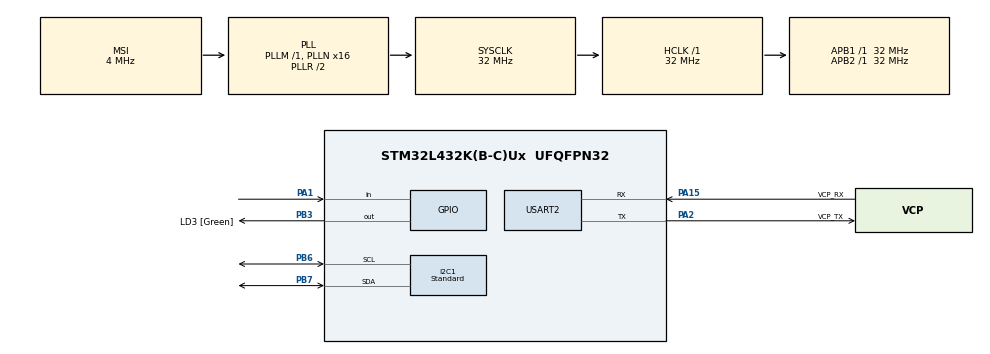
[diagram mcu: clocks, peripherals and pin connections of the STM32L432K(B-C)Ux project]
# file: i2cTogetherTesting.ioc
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I2C1.GeneralCallMode=I2C_GENERALCALL_ENABLE
I2C1.I2C_Speed_Mode=I2C_Standard
I2C1.NoStretchMode=I2C_NOSTRETCH_DISABLE
I2C1.OwnAddress=0x12
I2C1.Timing=0x00707CBB
Mcu.Family=STM32L4
Mcu.Name=STM32L432K(B-C)Ux
Mcu.Package=UFQFPN32
NVIC.I2C1_ER_IRQn=true\:0\:0\:false\:false\:true\:true\:true\:true
NVIC.I2C1_EV_IRQn=true\:0\:0\:false\:false\:true\:true\:true\:true
NVIC.PriorityGroup=NVIC_PRIORITYGROUP_4
PA0.GPIO_Label=MCO [High speed clock in]
PA0.Mode=HSE-External-Clock-Source-for-LittleOrca
PA0.Signal=RCC_CK_IN
PA1.GPIO_PuPd=GPIO_NOPULL
PA1.Signal=GPIO_Input
PA13\ (JTMS-SWDIO).GPIO_Label=SWDIO
PA13\ (JTMS-SWDIO).Mode=Serial_Wire
PA13\ (JTMS-SWDIO).Signal=SYS_JTMS-SWDIO
PA14\ (JTCK-SWCLK).GPIO_Label=SWCLK
PA14\ (JTCK-SWCLK).Mode=Serial_Wire
PA14\ (JTCK-SWCLK).Signal=SYS_JTCK-SWCLK
PA15\ (JTDI).GPIO_Label=VCP_RX
PA15\ (JTDI).Mode=Asynchronous
PA15\ (JTDI).Signal=USART2_RX
PA2.GPIO_Label=VCP_TX
PA2.Mode=Asynchronous
PA2.Signal=USART2_TX
PB3\ (JTDO-TRACESWO).GPIO_Label=LD3 [Green]
PB3\ (JTDO-TRACESWO).Signal=GPIO_Output
PB6.GPIO_FM6=__NULL
PB6.Mode=I2C
PB6.Signal=I2C1_SCL
PB7.GPIO_FM7=__NULL
PB7.Mode=I2C
PB7.Signal=I2C1_SDA
PC14-OSC32_IN\ (PC14).Mode=LSE-External-Oscillator
PC14-OSC32_IN\ (PC14).Signal=RCC_OSC32_IN
PC15-OSC32_OUT\ (PC15).Mode=LSE-External-Oscillator
PC15-OSC32_OUT\ (PC15).Signal=RCC_OSC32_OUT
ProjectManager.HeapSize=0x200
ProjectManager.StackSize=0x400
ProjectManager.TargetToolchain=STM32CubeIDE
RCC.AHBFreq_Value=32000000
RCC.APB1Freq_Value=32000000
RCC.APB1TimFreq_Value=32000000
RCC.APB2Freq_Value=32000000
RCC.APB2TimFreq_Value=32000000
RCC.CortexFreq_Value=32000000
RCC.HCLKFreq_Value=32000000
RCC.HSE_VALUE=8000000
RCC.HSI16_VALUE=16000000
RCC.HSI48_VALUE=48000000
RCC.HSI_VALUE=16000000
RCC.MSI_VALUE=4000000
RCC.PLLMUL=RCC_PLLMUL_4
RCC.PLLN=16
RCC.SYSCLKFreq_VALUE=32000000
RCC.SYSCLKSource=RCC_SYSCLKSOURCE_PLLCLK
RCC.VCOOutputFreq_Value=64000000
USART2.VirtualMode-Asynchronous=VM_ASYNC
board=NUCLEO-L432KC

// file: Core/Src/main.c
/* USER CODE BEGIN Header */
/**
 ******************************************************************************
 * @file           : main.c
 * @brief          : Main program body
 ******************************************************************************
 * @attention
 *
 * Copyright (c) 2024 STMicroelectronics.
 * All rights reserved.
 *
 * This software is licensed under terms that can be found in the LICENSE file
 * in the root directory of this software component.
 * If no LICENSE file comes with this software, it is provided AS-IS.
 *
 ******************************************************************************
 */
/* USER CODE END Header */
#include "main.h"

/* USER CODE BEGIN Includes */
#define COUNTOF(__BUFFER__)   (sizeof(__BUFFER__) / sizeof(*(__BUFFER__)))
#include <string.h>
/* Size of Transmission buffer */
#define TXBUFFERSIZE                      (COUNTOF(aTxBuffer))
/* Size of Reception buffer */
#define RXBUFFERSIZE                      TXBUFFERSIZE
/* USER CODE END Includes */

/* USER CODE BEGIN PTD */
__IO uint32_t     Transfer_Direction = 0;
__IO uint32_t     Xfer_Complete = 0;
/* USER CODE END PTD */

/* USER CODE BEGIN PD */
/* Buffer used for transmission */
uint8_t aTxBuffer[32];

/* Buffer used for reception */
uint8_t aRxBuffer[32];
/* USER CODE END PD */

I2C_HandleTypeDef hi2c1;

UART_HandleTypeDef huart2;

void SystemClock_Config(void);
static void MX_GPIO_Init(void);
static void MX_USART2_UART_Init(void);
static void MX_I2C1_Init(void);

int main(void) {

	/* MCU Configuration--------------------------------------------------------*/

	/* Reset of all peripherals, Initializes the Flash interface and the Systick. */
	HAL_Init();

	/* USER CODE BEGIN Init */
//	  aRxBuffer[0]=0x41;
//	  aRxBuffer[1]=0x42;
//	  aRxBuffer[2]=0x43;
//	  aRxBuffer[3]=0x44;
//	  aTxBuffer[0]=0x41;
//	  aTxBuffer[1]=0x42;
//	  aTxBuffer[2]=0x43;
//	  aTxBuffer[3]=0x44;
	/* USER CODE END Init */

	/* Configure the system clock */
	SystemClock_Config();

	/* Initialize all configured peripherals */
	MX_GPIO_Init();
	MX_USART2_UART_Init();
	MX_I2C1_Init();
	/* USER CODE BEGIN 2 */
	  if(HAL_I2C_EnableListen_IT(&hi2c1) != HAL_OK)
	  {
		/* Transfer error in reception process */
		Error_Handler();
	  }
	/* USER CODE END 2 */

	/* Infinite loop */
	/* USER CODE BEGIN WHILE */
	while (1) {

		if (Xfer_Complete == 1) {
			HAL_Delay(1);
			/*##- Put I2C peripheral in listen mode process ###########################*/
			if (HAL_I2C_EnableListen_IT(&hi2c1) != HAL_OK) {
				/* Transfer error in reception process */
				Error_Handler();
			}
			Xfer_Complete = 0;
		}

		/* USER CODE END WHILE */

	}
}

void SystemClock_Config(void) {
	RCC_OscInitTypeDef RCC_OscInitStruct = { 0 };
	RCC_ClkInitTypeDef RCC_ClkInitStruct = { 0 };

	/** Configure the main internal regulator output voltage
	 */
	if (HAL_PWREx_ControlVoltageScaling(PWR_REGULATOR_VOLTAGE_SCALE1)
			!= HAL_OK) {
		Error_Handler();
	}

	/** Configure LSE Drive Capability
	 */
	HAL_PWR_EnableBkUpAccess();
	__HAL_RCC_LSEDRIVE_CONFIG(RCC_LSEDRIVE_LOW);

	/** Initializes the RCC Oscillators according to the specified parameters
	 * in the RCC_OscInitTypeDef structure.
	 */
	RCC_OscInitStruct.OscillatorType = RCC_OSCILLATORTYPE_LSE
			| RCC_OSCILLATORTYPE_MSI;
	RCC_OscInitStruct.LSEState = RCC_LSE_ON;
	RCC_OscInitStruct.MSIState = RCC_MSI_ON;
	RCC_OscInitStruct.MSICalibrationValue = 0;
	RCC_OscInitStruct.MSIClockRange = RCC_MSIRANGE_6;
	RCC_OscInitStruct.PLL.PLLState = RCC_PLL_ON;
	RCC_OscInitStruct.PLL.PLLSource = RCC_PLLSOURCE_MSI;
	RCC_OscInitStruct.PLL.PLLM = 1;
	RCC_OscInitStruct.PLL.PLLN = 16;
	RCC_OscInitStruct.PLL.PLLP = RCC_PLLP_DIV7;
	RCC_OscInitStruct.PLL.PLLQ = RCC_PLLQ_DIV2;
	RCC_OscInitStruct.PLL.PLLR = RCC_PLLR_DIV2;
	if (HAL_RCC_OscConfig(&RCC_OscInitStruct) != HAL_OK) {
		Error_Handler();
	}

	/** Initializes the CPU, AHB and APB buses clocks
	 */
	RCC_ClkInitStruct.ClockType = RCC_CLOCKTYPE_HCLK | RCC_CLOCKTYPE_SYSCLK
			| RCC_CLOCKTYPE_PCLK1 | RCC_CLOCKTYPE_PCLK2;
	RCC_ClkInitStruct.SYSCLKSource = RCC_SYSCLKSOURCE_PLLCLK;
	RCC_ClkInitStruct.AHBCLKDivider = RCC_SYSCLK_DIV1;
	RCC_ClkInitStruct.APB1CLKDivider = RCC_HCLK_DIV1;
	RCC_ClkInitStruct.APB2CLKDivider = RCC_HCLK_DIV1;

	if (HAL_RCC_ClockConfig(&RCC_ClkInitStruct, FLASH_LATENCY_1) != HAL_OK) {
		Error_Handler();
	}

	/** Enable MSI Auto calibration
	 */
	HAL_RCCEx_EnableMSIPLLMode();
}

static void MX_I2C1_Init(void) {

	hi2c1.Instance = I2C1;
	hi2c1.Init.Timing = 0x00707CBB;
	hi2c1.Init.OwnAddress1 = 36;
	hi2c1.Init.AddressingMode = I2C_ADDRESSINGMODE_7BIT;
	hi2c1.Init.DualAddressMode = I2C_DUALADDRESS_DISABLE;
	hi2c1.Init.OwnAddress2 = 0;
	hi2c1.Init.OwnAddress2Masks = I2C_OA2_NOMASK;
	hi2c1.Init.GeneralCallMode = I2C_GENERALCALL_ENABLE;
	hi2c1.Init.NoStretchMode = I2C_NOSTRETCH_DISABLE;
	if (HAL_I2C_Init(&hi2c1) != HAL_OK) {
		Error_Handler();
	}

	/** Configure Analogue filter
	 */
	if (HAL_I2CEx_ConfigAnalogFilter(&hi2c1, I2C_ANALOGFILTER_ENABLE)
			!= HAL_OK) {
		Error_Handler();
	}

	/** Configure Digital filter
	 */
	if (HAL_I2CEx_ConfigDigitalFilter(&hi2c1, 0) != HAL_OK) {
		Error_Handler();
	}

}

static void MX_USART2_UART_Init(void) {

	huart2.Instance = USART2;
	huart2.Init.BaudRate = 115200;
	huart2.Init.WordLength = UART_WORDLENGTH_8B;
	huart2.Init.StopBits = UART_STOPBITS_1;
	huart2.Init.Parity = UART_PARITY_NONE;
	huart2.Init.Mode = UART_MODE_TX_RX;
	huart2.Init.HwFlowCtl = UART_HWCONTROL_NONE;
	huart2.Init.OverSampling = UART_OVERSAMPLING_16;
	huart2.Init.OneBitSampling = UART_ONE_BIT_SAMPLE_DISABLE;
	huart2.AdvancedInit.AdvFeatureInit = UART_ADVFEATURE_NO_INIT;
	if (HAL_UART_Init(&huart2) != HAL_OK) {
		Error_Handler();
	}

}

static void MX_GPIO_Init(void) {
	GPIO_InitTypeDef GPIO_InitStruct = { 0 };

	/* GPIO Ports Clock Enable */
	__HAL_RCC_GPIOC_CLK_ENABLE();
	__HAL_RCC_GPIOA_CLK_ENABLE();
	__HAL_RCC_GPIOB_CLK_ENABLE();

	/*Configure GPIO pin Output Level */
	HAL_GPIO_WritePin(LD3_GPIO_Port, LD3_Pin, GPIO_PIN_RESET);

	/*Configure GPIO pin : PA1 */
	GPIO_InitStruct.Pin = GPIO_PIN_1;
	GPIO_InitStruct.Mode = GPIO_MODE_INPUT;
	GPIO_InitStruct.Pull = GPIO_NOPULL;
	HAL_GPIO_Init(GPIOA, &GPIO_InitStruct);

	/*Configure GPIO pin : LD3_Pin */
	GPIO_InitStruct.Pin = LD3_Pin;
	GPIO_InitStruct.Mode = GPIO_MODE_OUTPUT_PP;
	GPIO_InitStruct.Pull = GPIO_NOPULL;
	GPIO_InitStruct.Speed = GPIO_SPEED_FREQ_LOW;
	HAL_GPIO_Init(LD3_GPIO_Port, &GPIO_InitStruct);

}

/* USER CODE BEGIN 4 */
/**
 * @brief  Tx Transfer completed callback.
 * @param  I2cHandle: I2C handle.
 * @note   This example shows a simple way to report end of IT Tx transfer, and
 *         you can add your own implementation.
 * @retval None
 */

void HAL_I2C_SlaveTxCpltCallback(I2C_HandleTypeDef *I2cHandle) {
	/* Toggle LED4: Transfer in transmission process is correct */

	Xfer_Complete = 1;
//	aTxBuffer[0]++;
//	aTxBuffer[1]++;
//	aTxBuffer[2]++;
//	aTxBuffer[3]++;

}

/**
 * @brief  Rx Transfer completed callback.
 * @param  I2cHandle: I2C handle
 * @note   This example shows a simple way to report end of IT Rx transfer, and
 *         you can add your own implementation.
 * @retval None
 */
void HAL_I2C_SlaveRxCpltCallback(I2C_HandleTypeDef *I2cHandle) {
//	memset(aTxBuffer, 0, sizeof(aTxBuffer));
	int hasNullTerminator = 0;
	for (int i = 0; i < sizeof(aRxBuffer); i++) {
	  if (aRxBuffer[i] == '\0') {
	    hasNullTerminator = 1;
	    break;
	  }
	}

	if (hasNullTerminator) {
	  if (strcmp((char*)aRxBuffer, "LedOff") == 0) {
		  HAL_GPIO_WritePin(LD3_GPIO_Port, LD3_Pin, GPIO_PIN_RESET);

	  } else if (strcmp((char*)aRxBuffer, "LedOn") == 0) {
		  HAL_GPIO_WritePin(LD3_GPIO_Port, LD3_Pin, GPIO_PIN_SET);

	  } else if (strcmp((char*)aRxBuffer, "SendStart") == 0) {
		  const char *message = "Send:10:Test";

//		  memset(aRxBuffer, 0, sizeof(aRxBuffer));

	  } else if (strcmp((char*)aRxBuffer, "SendStop") == 0) {
		  memset(aTxBuffer, 0, sizeof(aTxBuffer));

	  } else if (strcmp((char*)aRxBuffer, "ClientIdRequest") == 0) {
		  HAL_GPIO_WritePin(LD3_GPIO_Port, LD3_Pin, GPIO_PIN_SET);
		  const char *message = "Client:14";
		  strcpy((char *)aTxBuffer, message);
	  } else {
	    // Matched neither
	  }
	} else {
	  // Handle the case where aRxBuffer is not a null-terminated string
	}
//	  memset(aRxBuffer, 0, sizeof(aRxBuffer));
//	memset(aRxBuffer, 0, sizeof(aRxBuffer));
	Xfer_Complete = 1;
}

/**
 * @brief  Slave Address Match callback.
 * @param  hi2c Pointer to a I2C_HandleTypeDef structure that contains
 *                the configuration information for the specified I2C.
 * @param  TransferDirection: Master request Transfer Direction (Write/Read), value of @ref I2C_XferOptions_definition
 * @param  AddrMatchCode: Address Match Code
 * @retval None
 */
void HAL_I2C_AddrCallback(I2C_HandleTypeDef *hi2c, uint8_t TransferDirection,
		uint16_t AddrMatchCode) {
	Transfer_Direction = TransferDirection;
	if (Transfer_Direction != 0) {
		/*##- Start the transmission process #####################################*/
		/* While the I2C in reception process, user can transmit data through
		 "aTxBuffer" buffer */
		if (HAL_I2C_Slave_Seq_Transmit_IT(&hi2c1, (uint8_t*) aTxBuffer,
				TXBUFFERSIZE, I2C_FIRST_AND_LAST_FRAME) != HAL_OK)

		{
			/* Transfer error in transmission process */
			Error_Handler();
		}

		  memset(aTxBuffer, 0, sizeof(aTxBuffer));

	} else {

		/*##- Put I2C peripheral in reception process ###########################*/
		if (HAL_I2C_Slave_Seq_Receive_IT(&hi2c1, (uint8_t*) aRxBuffer,
				RXBUFFERSIZE, I2C_FIRST_AND_LAST_FRAME) != HAL_OK) {
			/* Transfer error in reception process */
			Error_Handler();
		}

	}

}

/**
 * @brief  Listen Complete callback.
 * @param  hi2c Pointer to a I2C_HandleTypeDef structure that contains
 *                the configuration information for the specified I2C.
 * @retval None
 */
void HAL_I2C_ListenCpltCallback(I2C_HandleTypeDef *hi2c) {
}

/**
 * @brief  I2C error callbacks.
 * @param  I2cHandle: I2C handle
 * @note   This example shows a simple way to report transfer error, and you can
 *         add your own implementation.
 * @retval None
 */
void HAL_I2C_ErrorCallback(I2C_HandleTypeDef *I2cHandle) {
	/** Error_Handler() function is called when error occurs.
	 * 1- When Slave doesn't acknowledge its address, Master restarts communication.
	 * 2- When Master doesn't acknowledge the last data transferred, Slave doesn't care in this example.
	 */
	if (HAL_I2C_GetError(I2cHandle) != HAL_I2C_ERROR_AF) {
		Error_Handler();
	}
}
/* USER CODE END 4 */

void Error_Handler(void) {
	__disable_irq();
	while (1) {
	}
}
